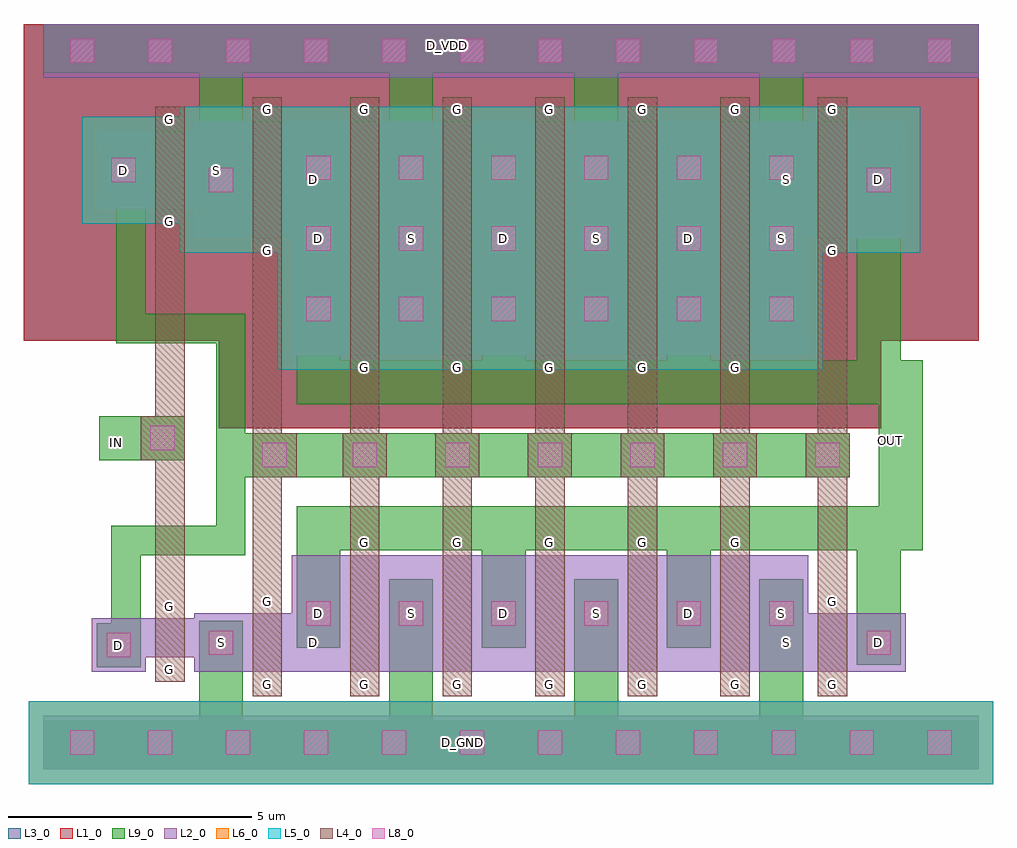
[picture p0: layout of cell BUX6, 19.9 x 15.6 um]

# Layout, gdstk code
import gdstk
lib = gdstk.Library(unit=1e-6, precision=1e-09)
def R(c, l, rs):  # rectangles x0, y0, x1, y1
    for r in rs: c.add(gdstk.rectangle(r[:2], r[2:], *l))
def A(c, l, x, y, w, h, nx, ny, dx, dy):  # array of equal rectangles
    R(c, l, [(x+i*dx, y+j*dy, x+i*dx+w, y+j*dy+h) for i in range(nx) for j in range(ny)])
def P(c, l, *ps):  # polygons
    for p in ps: c.add(gdstk.Polygon(p, *l))
L1_0 = (1, 0)
L2_0 = (2, 0)
L3_0 = (3, 0)
L4_0 = (4, 0)
L5_0 = (5, 0)
L6_0 = (6, 0)
L8_0 = (8, 0)
L9_0 = (9, 0)

bux6 = lib.new_cell('BUX6')
A(bux6, L1_0, 3.6, 7, 6, 7.8, 5, 1, 1.9, 0)
A(bux6, L1_0, 0, 8.8, 1.6, 6.5, 12, 1, 1.6, 0)
R(bux6, L1_0, [(-0.4,8.8,0,15.3), (1.6,9.4,7.6,14.8), (13.2,9.4,19.2,14.8), (-0.4,10,5.6,14.6)])
A(bux6, L2_0, 0, 0, 1.6, 1.1, 12, 2, 1.6, 14.2)
A(bux6, L2_0, 6.2, 2, 0.8, 2.4, 5, 1, 1.9, 0)
A(bux6, L2_0, 6.2, 8.5, 0.8, 4.8, 5, 1, 1.9, 0)
R(bux6, L2_0, [(1,2,2.1,3.1), (3.1,2,4.2,3.2), (4.2,2,5,3.2), (5,2,6.1,3.2), (5.1,2,6.2,4.4), (7,2,8.1,4.4), (7,2,8.1,4.4), (8.9,2,10,4.4), (8.9,2,10,4.4), (10.8,2,11.9,4.4), (10.8,2,11.9,4.4), (12.7,2,13.8,4.4), (12.7,2,13.8,4.4), (14.6,2,15.7,4.4), (14.7,2,15.8,3.2), (15.8,2,16.6,3.2), (16.6,2,17.7,3.2), (2.1,2.3,3.1,3.1), (3.1,2.3,4.2,3.1), (5.1,8.5,6.2,13.3), (7,8.5,8.1,13.3), (7,8.5,8.1,13.3), (8.9,8.5,10,13.3), (8.9,8.5,10,13.3), (10.8,8.5,11.9,13.3), (10.8,8.5,11.9,13.3), (12.7,8.5,13.8,13.3), (12.7,8.5,13.8,13.3), (14.6,8.5,15.7,13.3), (3.1,10.9,4.2,13.3), (4.2,10.9,5,13.3), (5,10.9,6.1,13.3), (14.7,10.9,15.8,13.3), (15.8,10.9,16.6,13.3), (16.6,10.9,17.7,13.3), (1.1,11.5,2.2,13.1), (2.2,11.5,3,13.1), (3,11.5,4.1,13.1)])
A(bux6, L3_0, 3.6, 7, 6, 7.8, 5, 1, 1.9, 0)
A(bux6, L3_0, 0, 8.8, 1.6, 6.5, 12, 1, 1.6, 0)
R(bux6, L3_0, [(-0.4,8.8,0,15.3), (1.6,9.4,7.6,14.8), (13.2,9.4,19.2,14.8), (-0.4,10,5.6,14.6)])
A(bux6, L4_0, 6.3, 1.5, 0.6, 3.4, 5, 1, 1.9, 0)
A(bux6, L4_0, 6.3, 1.5, 0.6, 0.5, 5, 2, 1.9, 2.9)
A(bux6, L4_0, 6.15, 6, 0.9, 0.9, 6, 1, 1.9, 0)
A(bux6, L4_0, 6.3, 8, 0.6, 0.5, 5, 2, 1.9, 5.3)
A(bux6, L4_0, 6.3, 8, 0.6, 5.8, 5, 1, 1.9, 0)
R(bux6, L4_0, [(4.3,1.5,4.9,2), (4.3,1.5,4.9,3.7), (15.9,1.5,16.5,2), (15.9,1.5,16.5,3.7), (2.3,1.8,2.9,2.3), (2.3,1.8,2.9,3.6), (2.3,2.75,2.9,10.4), (2.3,3.1,2.9,3.6), (4.3,3.2,4.9,3.7), (15.9,3.2,16.5,3.7), (4.3,3.6,4.9,10.4), (15.9,3.7,16.5,10.4), (6.3,4.8,6.9,8), (8.2,4.8,8.8,8), (12,4.8,12.6,8), (10.1,4.9,10.7,8), (13.9,4.9,14.5,8), (4.3,6,5.2,6.9), (2,6.35,2.9,7.25), (2.3,10.05,2.9,11.3), (4.3,10.4,4.9,13.8), (4.3,10.4,4.9,10.9), (15.9,10.4,16.5,13.8), (15.9,10.4,16.5,10.9), (2.3,11,2.9,11.5), (2.3,11,2.9,13.6), (2.3,13.1,2.9,13.6), (4.3,13.3,4.9,13.8), (15.9,13.3,16.5,13.8)])
A(bux6, L5_0, 1.6, -0.3, 1.6, 1.7, 10, 1, 1.6, 0)
A(bux6, L5_0, 4.8, 8.2, 3.6, 5.4, 5, 1, 1.9, 0)
R(bux6, L5_0, [(-0.3,-0.3,1.6,1.4), (17.6,-0.3,19.5,1.4), (2.8,10.6,6.4,13.6), (14.4,10.6,18,13.6), (0.8,11.2,4.4,13.4)])
A(bux6, L6_0, 1.6, -0.3, 1.6, 1.7, 10, 1, 1.6, 0)
A(bux6, L6_0, 4.8, 8.2, 3.6, 5.4, 5, 1, 1.9, 0)
R(bux6, L6_0, [(-0.3,-0.3,1.6,1.4), (17.6,-0.3,19.5,1.4), (2.8,10.6,6.4,13.6), (14.4,10.6,18,13.6), (0.8,11.2,4.4,13.4)])
A(bux6, L8_0, 0.55, 0.3, 0.5, 0.5, 12, 2, 1.6, 14.2)
A(bux6, L8_0, 6.35, 6.2, 0.5, 0.5, 6, 1, 1.9, 0)
A(bux6, L8_0, 5.4, 9.2, 0.5, 0.5, 1, 3, 0, 1.45)
A(bux6, L8_0, 14.9, 9.2, 0.5, 0.5, 1, 3, 0, 1.45)
R(bux6, L8_0, [(1.3,2.3,1.8,2.8), (3.4,2.35,3.9,2.85), (16.9,2.35,17.4,2.85), (5.4,2.95,5.9,3.45), (7.3,2.95,7.8,3.45), (7.3,2.95,7.8,3.45), (9.2,2.95,9.7,3.45), (9.2,2.95,9.7,3.45), (11.1,2.95,11.6,3.45), (11.1,2.95,11.6,3.45), (13,2.95,13.5,3.45), (13,2.95,13.5,3.45), (14.9,2.95,15.4,3.45), (4.5,6.2,5,6.7), (2.2,6.55,2.7,7.05), (7.3,9.2,7.8,9.7), (7.3,9.2,7.8,9.7), (9.2,9.2,9.7,9.7), (9.2,9.2,9.7,9.7), (11.1,9.2,11.6,9.7), (11.1,9.2,11.6,9.7), (13,9.2,13.5,9.7), (13,9.2,13.5,9.7), (7.3,10.65,7.8,11.15), (7.3,10.65,7.8,11.15), (9.2,10.65,9.7,11.15), (9.2,10.65,9.7,11.15), (11.1,10.65,11.6,11.15), (11.1,10.65,11.6,11.15), (13,10.65,13.5,11.15), (13,10.65,13.5,11.15), (3.4,11.85,3.9,12.35), (16.9,11.85,17.4,12.35), (1.4,12.05,1.9,12.55), (7.3,12.1,7.8,12.6), (7.3,12.1,7.8,12.6), (9.2,12.1,9.7,12.6), (9.2,12.1,9.7,12.6), (11.1,12.1,11.6,12.6), (11.1,12.1,11.6,12.6), (13,12.1,13.5,12.6), (13,12.1,13.5,12.6)])
A(bux6, L9_0, 0, 0, 1.6, 1, 12, 2, 1.6, 14.3)
A(bux6, L9_0, 6.15, 6, 0.9, 0.9, 6, 1, 1.9, 0)
R(bux6, L9_0, [(14.7,0.1,15.6,3.4), (8.3,0.25,8.9,0.85), (1.1,2.1,2,3), (3.2,2.15,4.1,3.05), (16.7,2.15,17.6,3.05), (16.7,2.15,17.6,5.4), (5.2,2.5,6.1,3.9), (7.1,2.5,8,3.9), (7.1,2.5,8,3.9), (9,2.5,9.9,3.9), (9,2.5,9.9,3.9), (10.9,2.5,11.8,3.9), (10.9,2.5,11.8,3.9), (12.8,2.5,13.7,3.9), (12.8,2.5,13.7,3.9), (14.7,2.5,15.6,3.9), (9,3,9.9,5.4), (12.8,3,13.7,5.4), (4.3,6,5.2,6.9), (4.9,6,15.7,6.9), (1.15,6.35,2.05,7.25), (2,6.35,2.9,7.25), (17.15,6.35,18.05,7.25), (9,7.5,9.9,9.9), (12.8,7.5,13.7,9.9), (16.7,7.5,17.6,12.3), (5.2,9,6.1,12.8), (7.1,9,8,12.8), (7.1,9,8,12.8), (9,9,9.9,12.8), (9,9,9.9,12.8), (10.9,9,11.8,12.8), (10.9,9,11.8,12.8), (12.8,9,13.7,12.8), (12.8,9,13.7,12.8), (14.7,9,15.6,12.8), (3.2,11.4,4.1,12.8), (16.7,11.4,17.6,12.8), (1.2,11.8,2.1,12.8), (14.7,11.9,15.6,15.2), (8,14.55,8.6,15.15)])
P(bux6, L9_0, [(2.3,0.1),(4.1,0.1),(4.1,3.05),(3.2,3.05),(3.2,1),(2.3,1)],
  [(7.1,0.1),(8.9,0.1),(8.9,1),(8,1),(8,3.4),(7.1,3.4)],
  [(10.3,0.1),(11.8,0.1),(11.8,3.4),(10.9,3.4),(10.9,1),(10.3,1)],
  [(10.3,14.3),(10.9,14.3),(10.9,11.9),(11.8,11.9),(11.8,15.2),(10.3,15.2)],
  [(7.1,11.9),(8,11.9),(8,14.3),(8.9,14.3),(8.9,15.2),(7.1,15.2)],
  [(2.3,14.3),(3.2,14.3),(3.2,11.9),(4.1,11.9),(4.1,15.2),(2.3,15.2)],
  [(5.2,3),(6.1,3),(6.1,4.5),(18.05,4.5),(18.05,8.4),(6.1,8.4),(6.1,9.9),(5.2,9.9),(5.2,7.5),(17.15,7.5),(17.15,5.4),(5.2,5.4)],
  [(1.5,8.75),(3.55,8.75),(3.55,6.3),(4.9,6.3),(4.9,6.9),(4.15,6.9),(4.15,9.35),(2.1,9.35),(2.1,12.4),(1.5,12.4)],
  [(1.4,2.4),(2,2.4),(2,4.4),(4.15,4.4),(4.15,6),(4.9,6),(4.9,6.6),(3.55,6.6),(3.55,5),(1.4,5)])
bux6.add(gdstk.Label('G', (14.2,1.752), layer=4, texttype=0))
bux6.add(gdstk.Label('G', (14.2,4.652), layer=4, texttype=0))
bux6.add(gdstk.Label('S', (15.151,3.201), layer=9, texttype=0))
bux6.add(gdstk.Label('D', (13.251,3.201), layer=9, texttype=0))
bux6.add(gdstk.Label('G', (6.6,1.752), layer=4, texttype=0))
bux6.add(gdstk.Label('G', (6.6,4.652), layer=4, texttype=0))
bux6.add(gdstk.Label('S', (7.551,3.201), layer=9, texttype=0))
bux6.add(gdstk.Label('D', (5.651,3.201), layer=9, texttype=0))
bux6.add(gdstk.Label('G', (6.6,8.252), layer=4, texttype=0))
bux6.add(gdstk.Label('G', (6.6,13.552), layer=4, texttype=0))
bux6.add(gdstk.Label('S', (7.551,10.901), layer=9, texttype=0))
bux6.add(gdstk.Label('D', (5.651,10.901), layer=9, texttype=0))
bux6.add(gdstk.Label('D', (5.549,2.601), layer=2, texttype=0))
bux6.add(gdstk.Label('G', (4.6,1.752), layer=4, texttype=0))
bux6.add(gdstk.Label('G', (4.6,3.452), layer=4, texttype=0))
bux6.add(gdstk.Label('S', (3.649,2.601), layer=9, texttype=0))
bux6.add(gdstk.Label('G', (2.6,13.348), layer=4, texttype=0))
bux6.add(gdstk.Label('G', (2.6,11.248), layer=4, texttype=0))
bux6.add(gdstk.Label('S', (3.551,12.299), layer=2, texttype=0))
bux6.add(gdstk.Label('D', (1.651,12.299), layer=9, texttype=0))
bux6.add(gdstk.Label('G', (12.3,8.252), layer=4, texttype=0))
bux6.add(gdstk.Label('G', (12.3,13.552), layer=4, texttype=0))
bux6.add(gdstk.Label('S', (11.349,10.901), layer=9, texttype=0))
bux6.add(gdstk.Label('D', (13.249,10.901), layer=9, texttype=0))
bux6.add(gdstk.Label('G', (2.6,3.348), layer=4, texttype=0))
bux6.add(gdstk.Label('G', (2.6,2.048), layer=4, texttype=0))
bux6.add(gdstk.Label('S', (3.651,2.699), layer=2, texttype=0))
bux6.add(gdstk.Label('D', (1.551,2.549), layer=9, texttype=0))
bux6.add(gdstk.Label('G', (10.4,1.752), layer=4, texttype=0))
bux6.add(gdstk.Label('G', (10.4,4.652), layer=4, texttype=0))
bux6.add(gdstk.Label('S', (11.351,3.201), layer=9, texttype=0))
bux6.add(gdstk.Label('D', (9.451,3.201), layer=9, texttype=0))
bux6.add(gdstk.Label('G', (8.5,8.252), layer=4, texttype=0))
bux6.add(gdstk.Label('G', (8.5,13.552), layer=4, texttype=0))
bux6.add(gdstk.Label('S', (7.549,10.901), layer=9, texttype=0))
bux6.add(gdstk.Label('D', (9.449,10.901), layer=9, texttype=0))
bux6.add(gdstk.Label('G', (16.2,10.652), layer=4, texttype=0))
bux6.add(gdstk.Label('G', (16.2,13.552), layer=4, texttype=0))
bux6.add(gdstk.Label('S', (15.249,12.101), layer=2, texttype=0))
bux6.add(gdstk.Label('D', (17.149,12.101), layer=9, texttype=0))
bux6.add(gdstk.Label('G', (14.2,8.252), layer=4, texttype=0))
bux6.add(gdstk.Label('G', (14.2,13.552), layer=4, texttype=0))
bux6.add(gdstk.Label('S', (15.151,10.901), layer=9, texttype=0))
bux6.add(gdstk.Label('D', (13.251,10.901), layer=9, texttype=0))
bux6.add(gdstk.Label('G', (8.5,1.752), layer=4, texttype=0))
bux6.add(gdstk.Label('G', (8.5,4.652), layer=4, texttype=0))
bux6.add(gdstk.Label('S', (7.549,3.201), layer=9, texttype=0))
bux6.add(gdstk.Label('D', (9.449,3.201), layer=9, texttype=0))
bux6.add(gdstk.Label('G', (10.4,8.252), layer=4, texttype=0))
bux6.add(gdstk.Label('G', (10.4,13.552), layer=4, texttype=0))
bux6.add(gdstk.Label('S', (11.351,10.901), layer=9, texttype=0))
bux6.add(gdstk.Label('D', (9.451,10.901), layer=9, texttype=0))
bux6.add(gdstk.Label('G', (4.6,10.652), layer=4, texttype=0))
bux6.add(gdstk.Label('G', (4.6,13.552), layer=4, texttype=0))
bux6.add(gdstk.Label('S', (3.649,12.101), layer=9, texttype=0))
bux6.add(gdstk.Label('D', (5.549,12.101), layer=2, texttype=0))
bux6.add(gdstk.Label('G', (12.3,1.752), layer=4, texttype=0))
bux6.add(gdstk.Label('G', (12.3,4.652), layer=4, texttype=0))
bux6.add(gdstk.Label('S', (11.349,3.201), layer=9, texttype=0))
bux6.add(gdstk.Label('D', (13.249,3.201), layer=9, texttype=0))
bux6.add(gdstk.Label('G', (16.2,1.752), layer=4, texttype=0))
bux6.add(gdstk.Label('G', (16.2,3.452), layer=4, texttype=0))
bux6.add(gdstk.Label('S', (15.249,2.601), layer=2, texttype=0))
bux6.add(gdstk.Label('D', (17.149,2.601), layer=9, texttype=0))
bux6.add(gdstk.Label('D_GND', (8.6,0.55), layer=50, texttype=0))
bux6.add(gdstk.Label('IN', (1.5,6.7), layer=50, texttype=0))
bux6.add(gdstk.Label('D_VDD', (8.3,14.85), layer=50, texttype=0))
bux6.add(gdstk.Label('OUT', (17.4,6.75), layer=50, texttype=0))

lib.write_gds('BUX6.gds')
